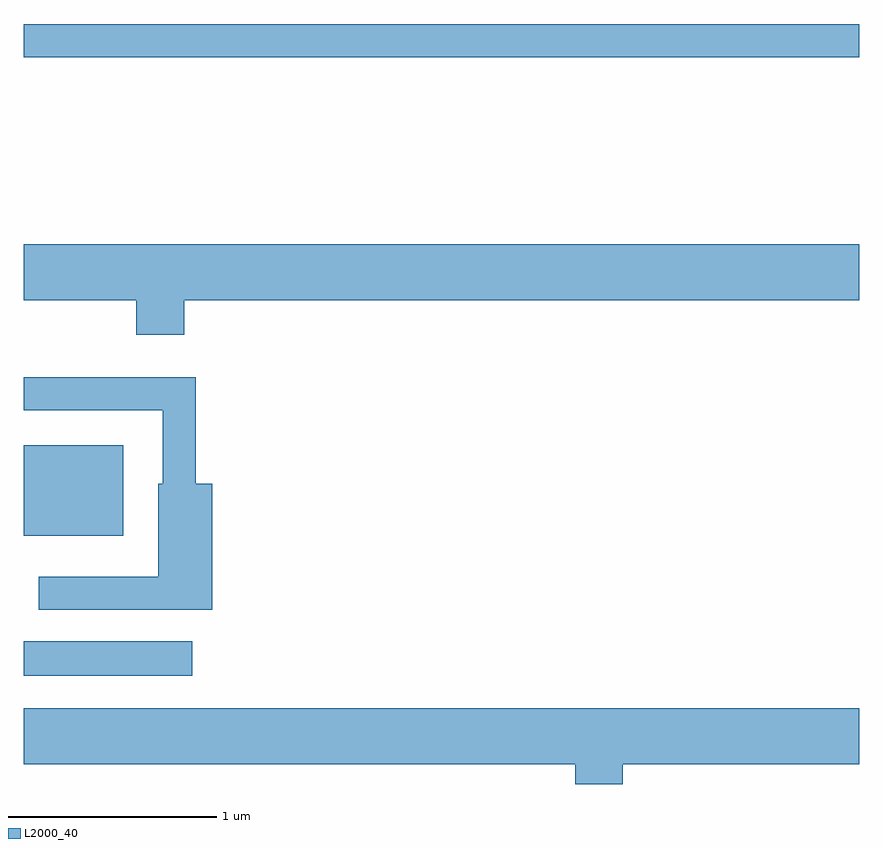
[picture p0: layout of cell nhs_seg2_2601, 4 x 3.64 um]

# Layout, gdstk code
import gdstk
lib = gdstk.Library(unit=1e-6, precision=1e-09)
def R(c, l, rs):  # rectangles x0, y0, x1, y1
    for r in rs: c.add(gdstk.rectangle(r[:2], r[2:], *l))
def P(c, l, *ps):  # polygons
    for p in ps: c.add(gdstk.Polygon(p, *l))
L2000_40 = (2000, 40)

nhs_seg2_2601 = lib.new_cell('nhs_seg2_2601')
R(nhs_seg2_2601, L2000_40, [(261.611,1024.321,262.418,1024.484), (261.611,1024.991,262.089,1025.424), (261.611,1027.281,265.611,1027.439)])
P(nhs_seg2_2601, L2000_40, [(262.379,1026.116),(265.611,1026.116),(265.611,1026.384),(261.611,1026.384),(261.611,1026.116),(262.151,1026.116),(262.151,1025.951),(262.379,1025.951)],
  [(262.514,1025.239),(262.434,1025.239),(262.434,1025.749),(261.611,1025.749),(261.611,1025.591),(262.276,1025.591),(262.276,1025.239),(262.256,1025.239),(262.256,1024.794),(261.683,1024.794),(261.683,1024.636),(262.514,1024.636)],
  [(264.479,1023.896),(265.611,1023.896),(265.611,1024.164),(261.611,1024.164),(261.611,1023.896),(264.251,1023.896),(264.251,1023.802),(264.479,1023.802)])

lib.write_gds('nhs_seg2_2601.gds')
